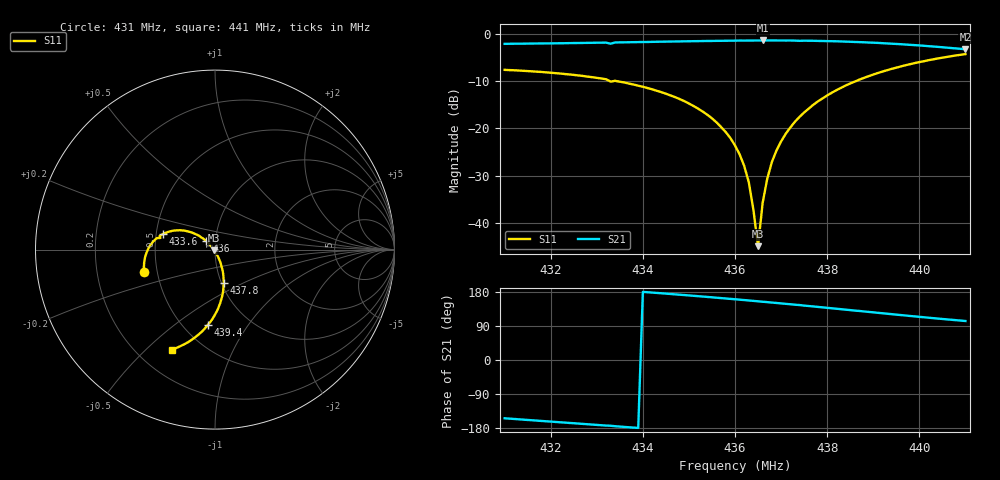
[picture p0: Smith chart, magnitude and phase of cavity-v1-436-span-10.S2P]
!File created by NanoVNA
# Hz S RI R 50
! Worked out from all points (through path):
!   101 points, 431 MHz to 441 MHz, reference 50 ohm
!   highest |S21| = -1.46 dB at 436.6 MHz (marker M1); lowest = -3.3 dB at 441 MHz (marker M2)
!   group delay of S21, straight-line fit = 29 ns
!   lowest |S11| = -44.8 dB at 436.5 MHz (marker M3), VSWR 1.01, Z = 49.6 - j0.416 ohm
!   |S11| at or under -10 dB: 433.2738 MHz to 433.3786 MHz (104.8 kHz wide, 0.0242 % of centre); 433.42 MHz to 438.63 MHz (5.211 MHz wide, 1.2 % of centre)
!   S12 and S22 are empty: the file has one direction only
!   S11 on the Smith chart (normalised r, x): 431 MHz: 0.42, -0.13; 433.6 MHz: 0.54, +0.10; 436 MHz: 0.91, +0.08; 437.8 MHz: 1.03, -0.40; 439.4 MHz: 0.65, -0.67; 441 MHz: 0.34, -0.60
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4.31e8  -0.3942 -0.1266  -0.699 -0.3437  0 0  0 0
4.327e8  -0.3559 0.0305  -0.7807 -0.1566  0 0  0 0
4.336e8  -0.2924 0.0858  -0.8065 -0.0479  0 0  0 0
4.344e8  -0.2161 0.1074  -0.8188 0.0551  0 0  0 0
4.349e8  -0.1633 0.1043  -0.8188 0.1242  0 0  0 0
4.354e8  -0.109 0.0867  -0.8124 0.1961  0 0  0 0
4.358e8  -0.067 0.0622  -0.7999 0.2551  0 0  0 0
4.36e8  -0.0475 0.0461  -0.7922 0.2835  0 0  0 0
4.362e8  -0.0293 0.0275  -0.7822 0.3132  0 0  0 0
4.363e8  -0.0204 0.0178  -0.7771 0.3283  0 0  0 0
4.364e8  -0.012 0.00686  -0.7712 0.3435  0 0  0 0
4.365e8  -0.00392 -0.00419  -0.7647 0.3588  0 0  0 0
4.366e8  0.00355 -0.016  -0.7584 0.3738  0 0  0 0
4.367e8  0.0104 -0.0277  -0.7514 0.3876  0 0  0 0
4.368e8  0.0175 -0.0406  -0.7434 0.402  0 0  0 0
4.37e8  0.0284 -0.0671  -0.7266 0.4307  0 0  0 0
4.373e8  0.0408 -0.1102  -0.6976 0.4724  0 0  0 0
4.377e8  0.0485 -0.1708  -0.6542 0.525  0 0  0 0
4.378e8  0.0491 -0.1864  -0.6412 0.5366  0 0  0 0
4.385e8  0.0295 -0.296  -0.5449 0.6112  0 0  0 0
4.394e8  -0.0416 -0.4221  -0.4019 0.6698  0 0  0 0
4.41e8  -0.2418 -0.5572  -0.1526 0.6661  0 0  0 0
